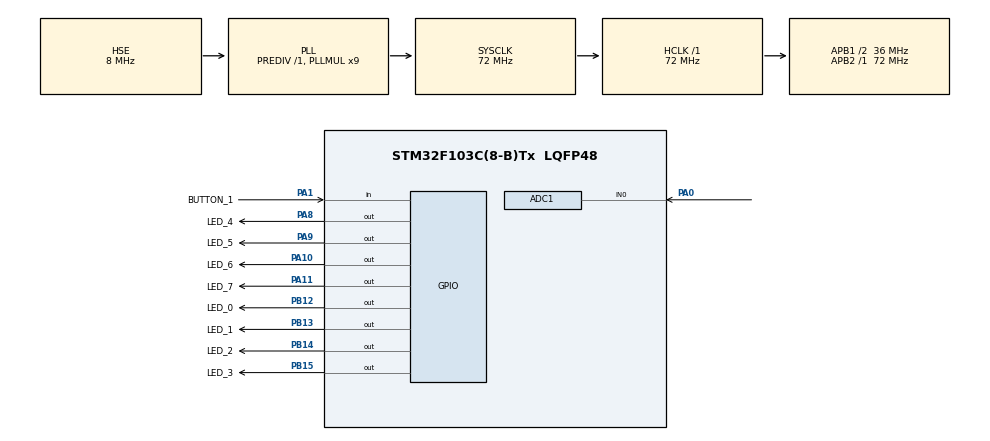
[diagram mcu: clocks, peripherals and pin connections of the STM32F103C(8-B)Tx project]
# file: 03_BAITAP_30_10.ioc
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ADC1.Channel-1\#ChannelRegularConversion=ADC_CHANNEL_0
ADC1.NbrOfConversionFlag=1
ADC1.Rank-1\#ChannelRegularConversion=1
ADC1.SamplingTime-1\#ChannelRegularConversion=ADC_SAMPLETIME_239CYCLES_5
ADC1.master=1
Mcu.Family=STM32F1
Mcu.Name=STM32F103C(8-B)Tx
Mcu.Package=LQFP48
NVIC.PriorityGroup=NVIC_PRIORITYGROUP_4
PA0-WKUP.Signal=ADCx_IN0
PA1.GPIO_Label=BUTTON_1
PA1.Signal=GPIO_Input
PA10.GPIO_Label=LED_6
PA10.Signal=GPIO_Output
PA11.GPIO_Label=LED_7
PA11.Signal=GPIO_Output
PA13.Mode=Serial_Wire
PA13.Signal=SYS_JTMS-SWDIO
PA14.Mode=Serial_Wire
PA14.Signal=SYS_JTCK-SWCLK
PA8.GPIO_Label=LED_4
PA8.Signal=GPIO_Output
PA9.GPIO_Label=LED_5
PA9.Signal=GPIO_Output
PB12.GPIO_Label=LED_0
PB12.Signal=GPIO_Output
PB13.GPIO_Label=LED_1
PB13.Signal=GPIO_Output
PB14.GPIO_Label=LED_2
PB14.Signal=GPIO_Output
PB15.GPIO_Label=LED_3
PB15.Signal=GPIO_Output
PD0-OSC_IN.Mode=HSE-External-Oscillator
PD0-OSC_IN.Signal=RCC_OSC_IN
PD1-OSC_OUT.Mode=HSE-External-Oscillator
PD1-OSC_OUT.Signal=RCC_OSC_OUT
ProjectManager.HeapSize=0x200
ProjectManager.StackSize=0x400
ProjectManager.TargetToolchain=MDK-ARM V5.32
RCC.ADCPresc=RCC_ADCPCLK2_DIV6
RCC.AHBFreq_Value=72000000
RCC.APB1CLKDivider=RCC_HCLK_DIV2
RCC.APB1Freq_Value=36000000
RCC.APB1TimFreq_Value=72000000
RCC.APB2Freq_Value=72000000
RCC.APB2TimFreq_Value=72000000
RCC.HCLKFreq_Value=72000000
RCC.PLLMUL=RCC_PLL_MUL9
RCC.PLLSourceVirtual=RCC_PLLSOURCE_HSE
RCC.SYSCLKFreq_VALUE=72000000
RCC.SYSCLKSource=RCC_SYSCLKSOURCE_PLLCLK
RCC.USBFreq_Value=72000000
SH.ADCx_IN0.0=ADC1_IN0,IN0
board=custom

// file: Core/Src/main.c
/* USER CODE BEGIN Header */
/**
  ******************************************************************************
  * @file           : main.c
  * @brief          : Main program body
  ******************************************************************************
  * @attention
  *
  * Copyright (c) 2022 STMicroelectronics.
  * All rights reserved.
  *
  * This software is licensed under terms that can be found in the LICENSE file
  * in the root directory of this software component.
  * If no LICENSE file comes with this software, it is provided AS-IS.
  *
  ******************************************************************************
  */
/* USER CODE END Header */
#include "main.h"

/* USER CODE BEGIN Includes */
	#include "button.h"
	#include "Led_Effect.h"
/* USER CODE END Includes */

ADC_HandleTypeDef hadc1;

void SystemClock_Config(void);
static void MX_GPIO_Init(void);
static void MX_ADC1_Init(void);

/* USER CODE BEGIN 0 */
Button_t button_change_Mode;
uint16_t Effect_Number = 0;
uint16_t valueADC =0;
Led_t Array_Led[8]= {
	{LED_0_GPIO_Port, LED_0_Pin},
	{LED_1_GPIO_Port, LED_1_Pin},
	{LED_2_GPIO_Port, LED_2_Pin},
	{LED_3_GPIO_Port, LED_3_Pin},
	{LED_4_GPIO_Port, LED_4_Pin},
	{LED_5_GPIO_Port, LED_5_Pin},
	{LED_6_GPIO_Port, LED_6_Pin},
	{LED_7_GPIO_Port, LED_7_Pin},
};
void btn_press_short_callback(Button_t *btn)
{
  if(btn ==&button_change_Mode)
	{
		Effect_Number++;
		SetEffectNumber(&Effect_Number);
	}
}

/* USER CODE END 0 */

int main(void)
{

  /* MCU Configuration--------------------------------------------------------*/

  /* Reset of all peripherals, Initializes the Flash interface and the Systick. */
  HAL_Init();

  /* USER CODE BEGIN Init */
	button_init(&button_change_Mode, BUTTON_1_GPIO_Port, BUTTON_1_Pin);
	Led_Effect_Init(Array_Led, sizeof(Array_Led)/ sizeof(Led_t));
  /* USER CODE END Init */

  /* Configure the system clock */
  SystemClock_Config();

  /* Initialize all configured peripherals */
  MX_GPIO_Init();
  MX_ADC1_Init();
  /* USER CODE BEGIN 2 */
   SetEffectNumber(&Effect_Number);
  /* USER CODE END 2 */

  /* Infinite loop */
  while (1)
  {

    /* USER CODE BEGIN 3 */
		//button_handle(&button_change_Mode);
		//Effect_Handle();
		HAL_ADC_Start(&hadc1);
		HAL_ADC_PollForConversion(&hadc1, 100);
	  valueADC = 	HAL_ADC_GetValue(&hadc1);
		TurnOnBaseOnADCValue(valueADC);
		HAL_ADC_Stop(&hadc1);
		HAL_Delay(100);

  }
  /* USER CODE END 3 */
}

void SystemClock_Config(void)
{
  RCC_OscInitTypeDef RCC_OscInitStruct = {0};
  RCC_ClkInitTypeDef RCC_ClkInitStruct = {0};
  RCC_PeriphCLKInitTypeDef PeriphClkInit = {0};

  /** Initializes the RCC Oscillators according to the specified parameters
  * in the RCC_OscInitTypeDef structure.
  */
  RCC_OscInitStruct.OscillatorType = RCC_OSCILLATORTYPE_HSE;
  RCC_OscInitStruct.HSEState = RCC_HSE_ON;
  RCC_OscInitStruct.HSEPredivValue = RCC_HSE_PREDIV_DIV1;
  RCC_OscInitStruct.HSIState = RCC_HSI_ON;
  RCC_OscInitStruct.PLL.PLLState = RCC_PLL_ON;
  RCC_OscInitStruct.PLL.PLLSource = RCC_PLLSOURCE_HSE;
  RCC_OscInitStruct.PLL.PLLMUL = RCC_PLL_MUL9;
  if (HAL_RCC_OscConfig(&RCC_OscInitStruct) != HAL_OK)
  {
    Error_Handler();
  }

  /** Initializes the CPU, AHB and APB buses clocks
  */
  RCC_ClkInitStruct.ClockType = RCC_CLOCKTYPE_HCLK|RCC_CLOCKTYPE_SYSCLK
                              |RCC_CLOCKTYPE_PCLK1|RCC_CLOCKTYPE_PCLK2;
  RCC_ClkInitStruct.SYSCLKSource = RCC_SYSCLKSOURCE_PLLCLK;
  RCC_ClkInitStruct.AHBCLKDivider = RCC_SYSCLK_DIV1;
  RCC_ClkInitStruct.APB1CLKDivider = RCC_HCLK_DIV2;
  RCC_ClkInitStruct.APB2CLKDivider = RCC_HCLK_DIV1;

  if (HAL_RCC_ClockConfig(&RCC_ClkInitStruct, FLASH_LATENCY_2) != HAL_OK)
  {
    Error_Handler();
  }
  PeriphClkInit.PeriphClockSelection = RCC_PERIPHCLK_ADC;
  PeriphClkInit.AdcClockSelection = RCC_ADCPCLK2_DIV6;
  if (HAL_RCCEx_PeriphCLKConfig(&PeriphClkInit) != HAL_OK)
  {
    Error_Handler();
  }
}

static void MX_ADC1_Init(void)
{

  ADC_ChannelConfTypeDef sConfig = {0};

  /** Common config
  */
  hadc1.Instance = ADC1;
  hadc1.Init.ScanConvMode = ADC_SCAN_DISABLE;
  hadc1.Init.ContinuousConvMode = DISABLE;
  hadc1.Init.DiscontinuousConvMode = DISABLE;
  hadc1.Init.ExternalTrigConv = ADC_SOFTWARE_START;
  hadc1.Init.DataAlign = ADC_DATAALIGN_RIGHT;
  hadc1.Init.NbrOfConversion = 1;
  if (HAL_ADC_Init(&hadc1) != HAL_OK)
  {
    Error_Handler();
  }

  /** Configure Regular Channel
  */
  sConfig.Channel = ADC_CHANNEL_0;
  sConfig.Rank = ADC_REGULAR_RANK_1;
  sConfig.SamplingTime = ADC_SAMPLETIME_239CYCLES_5;
  if (HAL_ADC_ConfigChannel(&hadc1, &sConfig) != HAL_OK)
  {
    Error_Handler();
  }

}

static void MX_GPIO_Init(void)
{
  GPIO_InitTypeDef GPIO_InitStruct = {0};

  /* GPIO Ports Clock Enable */
  __HAL_RCC_GPIOD_CLK_ENABLE();
  __HAL_RCC_GPIOA_CLK_ENABLE();
  __HAL_RCC_GPIOB_CLK_ENABLE();

  /*Configure GPIO pin Output Level */
  HAL_GPIO_WritePin(GPIOB, GPIO_PIN_12|GPIO_PIN_13|GPIO_PIN_14|GPIO_PIN_15, GPIO_PIN_RESET);

  /*Configure GPIO pin Output Level */
  HAL_GPIO_WritePin(GPIOA, GPIO_PIN_8|GPIO_PIN_9|GPIO_PIN_10|GPIO_PIN_11, GPIO_PIN_RESET);

  /*Configure GPIO pin : PA1 */
  GPIO_InitStruct.Pin = GPIO_PIN_1;
  GPIO_InitStruct.Mode = GPIO_MODE_INPUT;
  GPIO_InitStruct.Pull = GPIO_NOPULL;
  HAL_GPIO_Init(GPIOA, &GPIO_InitStruct);

  /*Configure GPIO pins : PB12 PB13 PB14 PB15 */
  GPIO_InitStruct.Pin = GPIO_PIN_12|GPIO_PIN_13|GPIO_PIN_14|GPIO_PIN_15;
  GPIO_InitStruct.Mode = GPIO_MODE_OUTPUT_PP;
  GPIO_InitStruct.Pull = GPIO_NOPULL;
  GPIO_InitStruct.Speed = GPIO_SPEED_FREQ_LOW;
  HAL_GPIO_Init(GPIOB, &GPIO_InitStruct);

  /*Configure GPIO pins : PA8 PA9 PA10 PA11 */
  GPIO_InitStruct.Pin = GPIO_PIN_8|GPIO_PIN_9|GPIO_PIN_10|GPIO_PIN_11;
  GPIO_InitStruct.Mode = GPIO_MODE_OUTPUT_PP;
  GPIO_InitStruct.Pull = GPIO_NOPULL;
  GPIO_InitStruct.Speed = GPIO_SPEED_FREQ_LOW;
  HAL_GPIO_Init(GPIOA, &GPIO_InitStruct);

}

void Error_Handler(void)
{
  __disable_irq();
  while (1)
  {
  }
}
